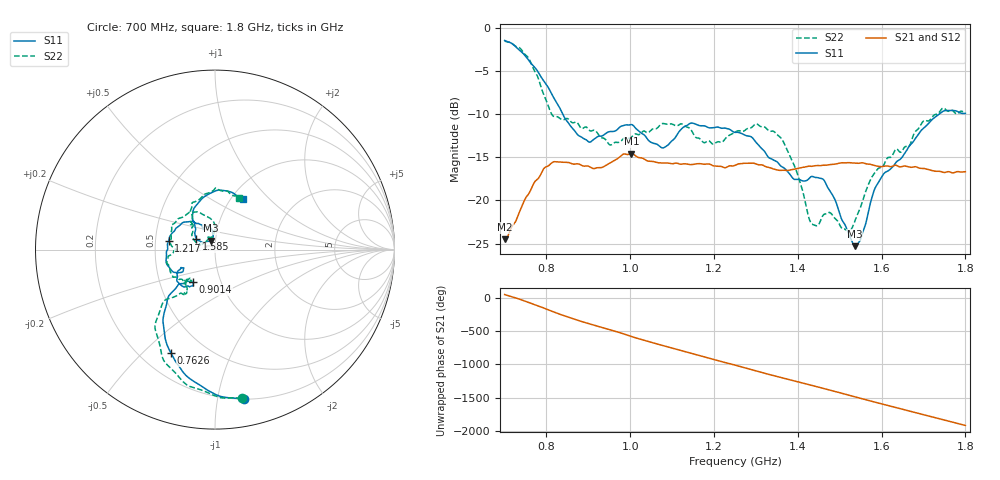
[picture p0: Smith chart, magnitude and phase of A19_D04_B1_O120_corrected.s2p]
! Created with skrf 1.9.0 (http://scikit-rf.org).
# Hz S RI R 50.0
!freq ReS11 ImS11 ReS21 ImS21 ReS12 ImS12 ReS22 ImS22
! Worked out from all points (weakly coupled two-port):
!   1601 points, 700 MHz to 1.8 GHz, reference 50 ohm
!   highest |S21| = -14.57 dB at 1.002 GHz (marker M1); lowest = -24.5 dB at 701.4 MHz (marker M2)
!   lowest |S11| = -25.3 dB at 1.536 GHz (marker M3), VSWR 1.11, Z = 47.6 + j4.72 ohm
!   |S11| at or under -10 dB: 839 MHz to 1.737 GHz (897.7 MHz wide, 69.7 % of centre)
!   |S22| runs from -23.6 to -1.5 dB; largest |S21 - S12| = 0.0034
!   S11 on the Smith chart (normalised r, x): 700 MHz: 0.20, -1.19; 762.6 MHz: 0.32, -0.61; 901.4 MHz: 0.74, -0.28; 1.217 GHz: 0.59, +0.06; 1.585 GHz: 0.81, +0.09; 1.8 GHz: 1.13, +0.71
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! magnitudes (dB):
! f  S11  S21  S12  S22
! 700 MHz  -1.4  -24.5  -24.3  -1.5
! 701.4 MHz  -1.5  -24.5  -24.1  -1.5
! 762.6 MHz  -4.1  -18.8  -18.7  -4.0
! 814.1 MHz  -7.8  -15.6  -15.6  -10.1
! 883.6 MHz  -12.6  -15.9  -15.8  -11.7
! 901.4 MHz  -13.2  -16.0  -16.0  -11.8
! 952.3 MHz  -12.0  -15.6  -15.6  -13.6
! 1.002 GHz  -11.2  -14.6  -14.7  -12.7
! 1.067 GHz  -13.6  -15.6  -15.6  -11.5
! 1.144 GHz  -11.0  -15.8  -15.8  -11.7
! 1.217 GHz  -11.6  -16.1  -16.1  -13.3
! 1.25 GHz  -12.1  -15.9  -15.9  -12.1
! 1.302 GHz  -13.3  -15.8  -15.7  -11.1
! 1.359 GHz  -16.0  -16.5  -16.5  -12.7
! 1.434 GHz  -17.2  -16.0  -16.0  -22.7
! 1.464 GHz  -17.8  -15.9  -15.9  -21.6
! 1.52 GHz  -23.7  -15.6  -15.6  -23.5
! 1.536 GHz  -25.3  -15.7  -15.7  -22.4
! 1.585 GHz  -18.5  -16.0  -16.0  -16.7
! 1.617 GHz  -16.5  -16.0  -16.0  -15.0
! 1.74 GHz  -9.9  -16.6  -16.6  -9.6
! 1.8 GHz  -9.9  -16.7  -16.7  -9.9
